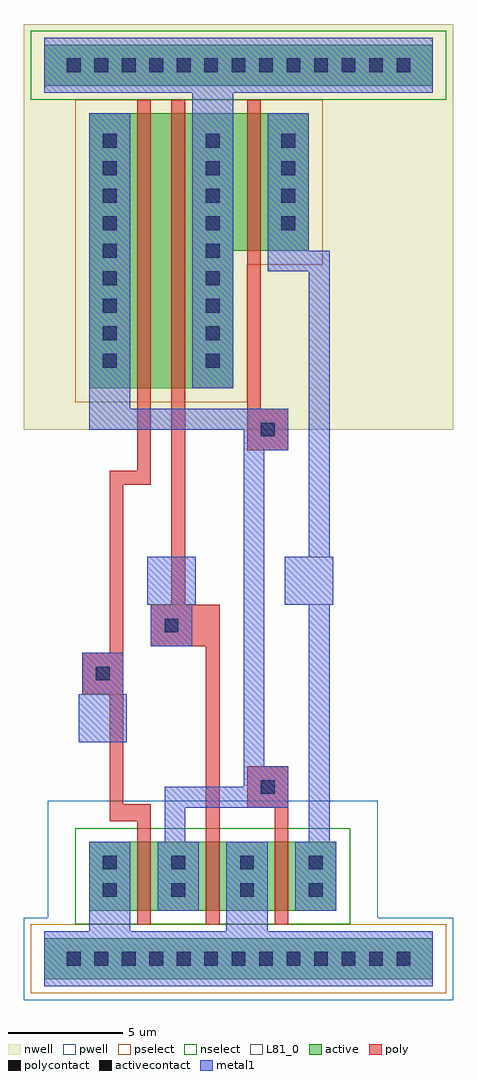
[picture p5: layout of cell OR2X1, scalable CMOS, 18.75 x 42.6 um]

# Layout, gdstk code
import gdstk
lib = gdstk.Library(unit=1e-6, precision=1e-09)
def R(c, l, rs):  # rectangles x0, y0, x1, y1
    for r in rs: c.add(gdstk.rectangle(r[:2], r[2:], *l))
def A(c, l, x, y, w, h, nx, ny, dx, dy):  # array of equal rectangles
    R(c, l, [(x+i*dx, y+j*dy, x+i*dx+w, y+j*dy+h) for i in range(nx) for j in range(ny)])
pwell = (41, 0)
nwell = (42, 0)
active = (43, 0)
pselect = (44, 0)
nselect = (45, 0)
poly = (46, 0)
polycontact = (47, 0)
activecontact = (48, 0)
metal1 = (49, 0)
L81_0 = (81, 0)

or2x1 = lib.new_cell('OR2X1')
R(or2x1, pwell, [(-1.95,-1.8,16.8,1.8), (-0.9,1.8,13.5,6.9)])
R(or2x1, nwell, [(-1.95,23.1,16.8,40.8)])
R(or2x1, active, [(-1.05,-0.9,15.9,0.9), (0.9,2.1,11.7,5.1), (0.9,24.9,7.2,30.9), (0.9,30.9,10.5,36.9), (-1.05,38.1,15.9,39.9)])
R(or2x1, pselect, [(-1.65,-1.5,16.5,1.5), (0.3,24.3,7.8,30.3), (0.3,30.3,11.1,37.5)])
R(or2x1, nselect, [(0.3,1.5,12.3,5.7), (-1.65,37.5,16.5,40.5)])
R(or2x1, poly, [(3,1.5,3.6,6), (6,1.5,6.6,13.65), (9,1.5,9.6,6.6), (1.8,6,3.6,6.75), (7.8,6.6,9.6,8.4), (1.8,6.75,2.4,11.55), (0.6,11.55,2.4,13.35), (1.8,13.35,2.4,20.7), (3.6,13.65,6.6,15.45), (4.5,15.45,5.1,37.5), (1.8,20.7,3.6,21.3), (3,21.3,3.6,37.5), (7.8,22.2,9.6,24), (7.8,24,8.4,37.5)])
R(or2x1, polycontact, [(8.4,7.2,9,7.8), (1.2,12.15,1.8,12.75), (4.2,14.25,4.8,14.85), (8.4,22.8,9,23.4)])
A(or2x1, activecontact, -0.07, -0.3, 0.6, 0.6, 13, 2, 1.2, 39)
A(or2x1, activecontact, 1.5, 2.7, 0.6, 0.6, 4, 2, 3, 1.2)
A(or2x1, activecontact, 1.5, 25.8, 0.6, 0.6, 1, 9, 0, 1.2)
A(or2x1, activecontact, 6, 25.8, 0.6, 0.6, 1, 9, 0, 1.2)
A(or2x1, activecontact, 9.3, 31.8, 0.6, 0.6, 1, 4, 0, 1.2)
R(or2x1, metal1, [(-1.05,-1.2,15.9,1.2), (0.9,1.2,2.7,5.1), (6.9,1.2,8.7,5.1), (3.9,2.1,5.7,5.1), (9.9,2.1,11.7,5.1), (4.2,5.1,5.1,6.6), (10.5,5.1,11.4,15.45), (4.2,6.6,9.6,7.5), (7.65,7.5,9.6,8.4), (7.65,8.4,8.55,22.2), (0.45,9.45,2.55,11.55), (0.6,11.55,2.4,13.35), (3.6,13.65,5.4,15.45), (3.45,15.45,5.55,17.55), (9.45,15.45,11.55,17.55), (10.5,17.55,11.4,30), (7.65,22.2,9.6,23.1), (0.9,23.1,9.6,24), (0.9,24,2.7,36.9), (5.4,24.9,7.2,37.8), (8.7,30,11.4,30.9), (8.7,30.9,10.5,36.9), (-1.05,37.8,15.9,40.2)])
R(or2x1, L81_0, [(0.45,9.45,2.55,11.55), (3.45,15.45,5.55,17.55), (9.45,15.45,11.55,17.55)])

lib.write_gds('OR2X1.gds')
